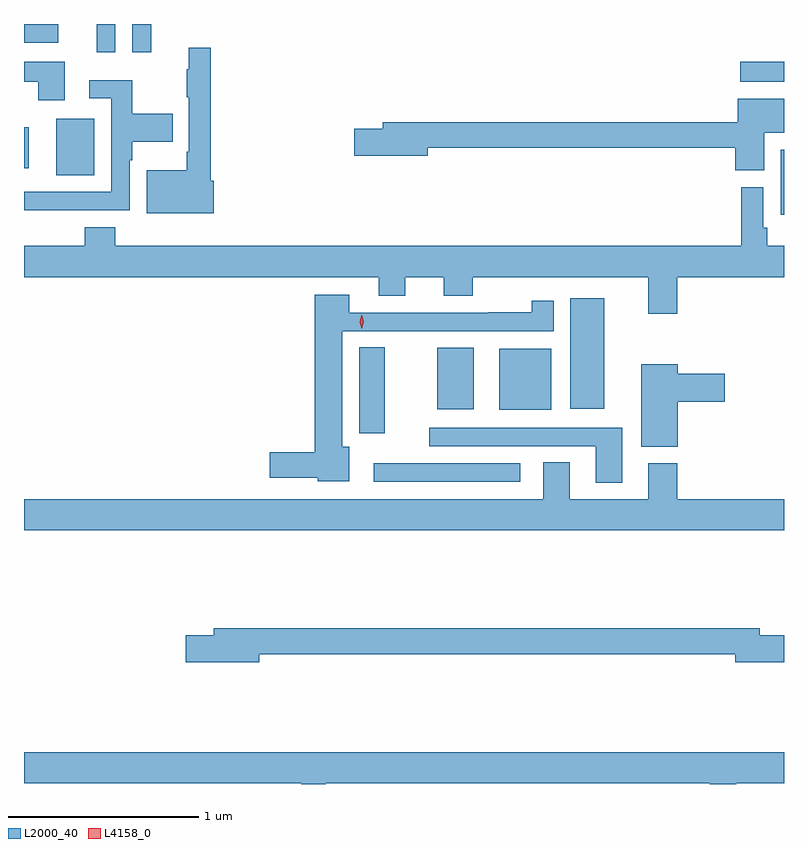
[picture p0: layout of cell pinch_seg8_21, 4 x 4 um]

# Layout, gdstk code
import gdstk
lib = gdstk.Library(unit=1e-6, precision=1e-09)
def R(c, l, rs):  # rectangles x0, y0, x1, y1
    for r in rs: c.add(gdstk.rectangle(r[:2], r[2:], *l))
def P(c, l, *ps):  # polygons
    for p in ps: c.add(gdstk.Polygon(p, *l))
L2000_40 = (2000, 40)
L4158_0 = (4158, 0)

pinch_seg8_21 = lib.new_cell('pinch_seg8_21')
R(pinch_seg8_21, L2000_40, [(1020.804,1126.08,1021.576,1126.176), (1020.728,1126.335,1020.862,1126.787), (1021.466,1126.457,1021.738,1126.78), (1021.139,1126.46,1021.33,1126.783), (1021.838,1126.463,1022.017,1127.044), (1022.948,1127.484,1022.964,1127.826), (1019.135,1127.693,1019.335,1127.989), (1018.964,1127.73,1018.99,1127.944), (1022.733,1128.185,1022.964,1128.289), (1019.348,1128.339,1019.445,1128.488), (1019.535,1128.339,1019.633,1128.488), (1018.964,1128.389,1019.143,1128.488)])
P(pinch_seg8_21, L2000_40, [(1019.962,1127.663),(1019.948,1127.663),(1019.948,1128.364),(1019.831,1128.364),(1019.831,1128.251),(1019.82,1128.251),(1019.82,1128.103),(1019.832,1128.103),(1019.832,1127.815),(1019.82,1127.815),(1019.82,1127.719),(1019.609,1127.719),(1019.609,1127.492),(1019.962,1127.492)],
  [(1019.179,1128.289),(1018.964,1128.289),(1018.964,1128.185),(1019.039,1128.185),(1019.039,1128.087),(1019.179,1128.087)],
  [(1019.195,1127.508),(1019.52,1127.508),(1019.52,1127.771),(1019.533,1127.771),(1019.533,1127.867),(1019.747,1127.867),(1019.747,1128.015),(1019.533,1128.015),(1019.533,1128.193),(1019.307,1128.193),(1019.307,1128.096),(1019.424,1128.096),(1019.424,1127.604),(1018.964,1127.604),(1018.964,1127.507),(1019.195,1127.507)],
  [(1022.86,1127.915),(1022.964,1127.915),(1022.964,1128.094),(1022.72,1128.094),(1022.72,1127.972),(1020.851,1127.972),(1020.851,1127.936),(1020.702,1127.936),(1020.702,1127.794),(1021.09,1127.794),(1021.09,1127.836),(1022.708,1127.836),(1022.708,1127.718),(1022.86,1127.718)],
  [(1022.402,1127.156),(1022.964,1127.156),(1022.964,1127.32),(1022.876,1127.32),(1022.876,1127.416),(1022.856,1127.416),(1022.856,1127.629),(1022.74,1127.629),(1022.74,1127.32),(1019.444,1127.32),(1019.444,1127.419),(1019.284,1127.419),(1019.284,1127.32),(1018.964,1127.32),(1018.964,1127.156),(1020.83,1127.156),(1020.83,1127.057),(1020.97,1127.057),(1020.97,1127.156),(1021.172,1127.156),(1021.172,1127.057),(1021.325,1127.057),(1021.325,1127.156),(1022.249,1127.156),(1022.249,1126.962),(1022.402,1126.962)],
  [(1020.676,1126.264),(1020.64,1126.264),(1020.64,1126.872),(1021.753,1126.872),(1021.753,1127.032),(1021.636,1127.032),(1021.636,1126.97),(1021.408,1126.97),(1021.408,1126.968),(1020.676,1126.968),(1020.676,1127.062),(1020.494,1127.062),(1020.494,1126.235),(1020.258,1126.235),(1020.258,1126.1),(1020.51,1126.1),(1020.51,1126.082),(1020.676,1126.082)],
  [(1022.404,1126.499),(1022.653,1126.499),(1022.653,1126.646),(1022.404,1126.646),(1022.404,1126.696),(1022.213,1126.696),(1022.213,1126.262),(1022.404,1126.262)],
  [(1022.113,1126.362),(1021.098,1126.362),(1021.098,1126.266),(1021.973,1126.266),(1021.973,1126.074),(1022.113,1126.074)],
  [(1022.964,1125.988),(1022.402,1125.988),(1022.402,1126.177),(1022.249,1126.177),(1022.249,1125.988),(1021.837,1125.988),(1021.837,1126.181),(1021.697,1126.181),(1021.697,1125.988),(1018.964,1125.988),(1018.964,1125.824),(1022.964,1125.824)],
  [(1020.202,1125.172),(1022.708,1125.172),(1022.708,1125.13),(1022.964,1125.13),(1022.964,1125.272),(1022.836,1125.272),(1022.836,1125.308),(1019.963,1125.308),(1019.963,1125.272),(1019.814,1125.272),(1019.814,1125.13),(1020.202,1125.13)],
  [(1020.551,1124.492),(1022.573,1124.492),(1022.573,1124.488),(1022.713,1124.488),(1022.713,1124.492),(1022.964,1124.492),(1022.964,1124.656),(1018.964,1124.656),(1018.964,1124.492),(1020.423,1124.492),(1020.423,1124.488),(1020.551,1124.488)])
P(pinch_seg8_21, L4158_0, [(1020.741,1126.885),(1020.741,1126.885),(1020.732,1126.921),(1020.742,1126.957),(1020.742,1126.957),(1020.742,1126.957),(1020.752,1126.921),(1020.741,1126.885)])

lib.write_gds('pinch_seg8_21.gds')
